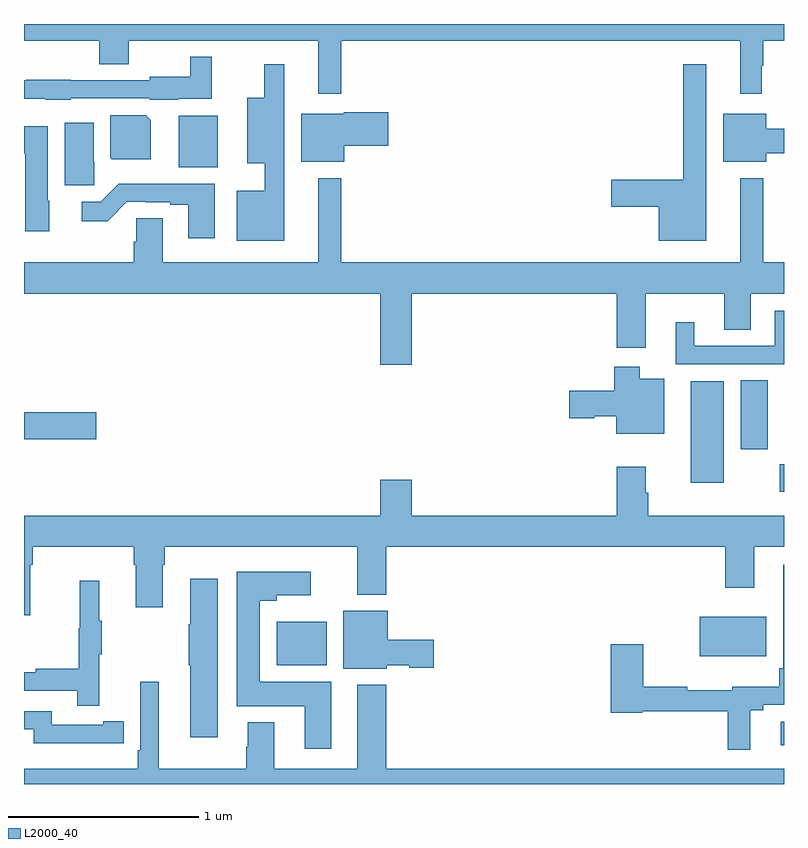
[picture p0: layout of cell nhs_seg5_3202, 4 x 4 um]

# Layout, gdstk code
import gdstk
lib = gdstk.Library(unit=1e-6, precision=1e-09)
def R(c, l, rs):  # rectangles x0, y0, x1, y1
    for r in rs: c.add(gdstk.rectangle(r[:2], r[2:], *l))
def P(c, l, *ps):  # polygons
    for p in ps: c.add(gdstk.Polygon(p, *l))
L2000_40 = (2000, 40)

nhs_seg5_3202 = lib.new_cell('nhs_seg5_3202')
R(nhs_seg5_3202, L2000_40, [(298.983,901.004,299,901.126), (296.33,901.424,296.593,901.654), (298.556,901.472,298.906,901.678), (298.978,902.337,299,902.481), (298.508,902.384,298.684,902.92), (298.772,902.562,298.915,902.924), (295,902.614,295.381,902.756), (295.814,904.046,296.02,904.316)])
P(nhs_seg5_3202, L2000_40, [(296.671,904.712),(298.769,904.712),(298.769,904.431),(298.883,904.431),(298.883,904.58),(298.891,904.58),(298.891,904.712),(299,904.712),(299,904.799),(295,904.799),(295,904.712),(295.396,904.712),(295.396,904.588),(295.551,904.588),(295.551,904.712),(296.549,904.712),(296.549,904.431),(296.671,904.431)],
  [(295.245,904.407),(295.662,904.407),(295.662,904.4),(295.812,904.4),(295.812,904.406),(295.988,904.406),(295.988,904.627),(295.875,904.627),(295.875,904.522),(295.662,904.522),(295.662,904.503),(295.245,904.503),(295.245,904.505),(295.013,904.505),(295.013,904.503),(295,904.503),(295,904.406),(295.113,904.406),(295.113,904.4),(295.245,904.4)],
  [(298.591,904.588),(298.47,904.588),(298.47,903.98),(298.092,903.98),(298.092,903.838),(298.34,903.838),(298.34,903.659),(298.591,903.659)],
  [(296.371,904.588),(296.265,904.588),(296.265,904.411),(296.174,904.411),(296.174,904.067),(296.267,904.067),(296.267,903.922),(296.12,903.922),(296.12,903.659),(296.371,903.659)],
  [(296.686,904.157),(296.917,904.157),(296.917,904.335),(296.682,904.335),(296.682,904.327),(296.459,904.327),(296.459,904.073),(296.686,904.073)],
  [(298.906,904.12),(299,904.12),(299,904.249),(298.906,904.249),(298.906,904.327),(298.679,904.327),(298.679,904.073),(298.906,904.073)],
  [(295.666,904.292),(295.64,904.318),(295.454,904.318),(295.454,904.096),(295.462,904.088),(295.666,904.088)],
  [(295.37,904.074),(295.366,904.074),(295.366,904.279),(295.214,904.279),(295.214,903.951),(295.37,903.951)],
  [(295.132,903.87),(295.126,903.87),(295.126,904.261),(295,904.261),(295,904.116),(295.007,904.116),(295.007,903.708),(295.132,903.708)],
  [(297.04,903.38),(298.121,903.38),(298.121,903.096),(298.273,903.096),(298.273,903.38),(298.685,903.38),(298.685,903.19),(298.825,903.19),(298.825,903.38),(299,903.38),(299,903.544),(298.891,903.544),(298.891,903.988),(298.769,903.988),(298.769,903.544),(296.671,903.544),(296.671,903.988),(296.549,903.988),(296.549,903.544),(295.729,903.544),(295.729,903.776),(295.59,903.776),(295.59,903.654),(295.577,903.654),(295.577,903.544),(295,903.544),(295,903.38),(296.876,903.38),(296.876,903.006),(297.04,903.006)],
  [(296.005,903.959),(295.499,903.959),(295.404,903.864),(295.305,903.864),(295.305,903.762),(295.44,903.762),(295.542,903.864),(295.642,903.864),(295.642,903.861),(295.769,903.861),(295.769,903.849),(295.865,903.849),(295.865,903.672),(296.005,903.672)],
  [(299,903.289),(298.952,903.289),(298.952,903.105),(298.528,903.105),(298.528,903.229),(298.43,903.229),(298.43,903.009),(299,903.009)],
  [(298.369,902.932),(298.24,902.932),(298.24,902.995),(298.106,902.995),(298.106,902.87),(297.87,902.87),(297.87,902.723),(298.002,902.723),(298.002,902.735),(298.118,902.735),(298.118,902.642),(298.369,902.642)],
  [(295.033,901.952),(295.046,901.952),(295.046,902.048),(295.577,902.048),(295.577,901.952),(295.589,901.952),(295.589,901.728),(295.729,901.728),(295.729,901.952),(295.742,901.952),(295.742,902.048),(296.753,902.048),(296.753,901.796),(296.906,901.796),(296.906,902.048),(298.691,902.048),(298.691,901.833),(298.843,901.833),(298.843,902.048),(299,902.048),(299,902.212),(298.286,902.212),(298.286,902.333),(298.273,902.333),(298.273,902.47),(298.121,902.47),(298.121,902.212),(297.04,902.212),(297.04,902.401),(296.876,902.401),(296.876,902.212),(295,902.212),(295,901.686),(295.033,901.686)],
  [(298.822,901.186),(298.89,901.186),(298.89,901.215),(299,901.215),(299,901.954),(298.995,901.954),(298.995,901.408),(298.975,901.408),(298.975,901.312),(298.728,901.312),(298.728,901.292),(298.491,901.292),(298.491,901.31),(298.258,901.31),(298.258,901.534),(298.088,901.534),(298.088,901.174),(298.254,901.174),(298.254,901.182),(298.705,901.182),(298.705,900.978),(298.822,900.978)],
  [(296.617,901.336),(296.242,901.336),(296.242,901.763),(296.329,901.763),(296.329,901.793),(296.509,901.793),(296.509,901.915),(296.12,901.915),(296.12,901.208),(296.477,901.208),(296.477,900.984),(296.617,900.984)],
  [(296.02,901.879),(295.874,901.879),(295.874,901.64),(295.867,901.64),(295.867,901.423),(295.874,901.423),(295.874,901.044),(296.02,901.044)],
  [(295.397,901.483),(295.408,901.483),(295.408,901.657),(295.397,901.657),(295.397,901.87),(295.294,901.87),(295.294,901.62),(295.287,901.62),(295.287,901.406),(295.063,901.406),(295.063,901.386),(295,901.386),(295,901.29),(295.279,901.29),(295.279,901.212),(295.397,901.212)],
  [(296.91,901.424),(297.027,901.424),(297.027,901.412),(297.157,901.412),(297.157,901.559),(296.914,901.559),(296.914,901.711),(296.681,901.711),(296.681,901.406),(296.91,901.406)],
  [(296.177,901.123),(296.177,900.996),(296.17,900.996),(296.17,900.88),(295.708,900.88),(295.708,901.336),(295.611,901.336),(295.611,900.976),(295.598,900.976),(295.598,900.88),(295,900.88),(295,900.799),(299,900.799),(299,900.88),(296.906,900.88),(296.906,901.321),(296.753,901.321),(296.753,900.88),(296.317,900.88),(296.317,901.123)],
  [(295.418,901.014),(295.526,901.014),(295.526,901.13),(295.418,901.13),(295.418,901.11),(295.146,901.11),(295.146,901.182),(295,901.182),(295,901.086),(295.05,901.086),(295.05,901.013),(295.418,901.013)])

lib.write_gds('nhs_seg5_3202.gds')
